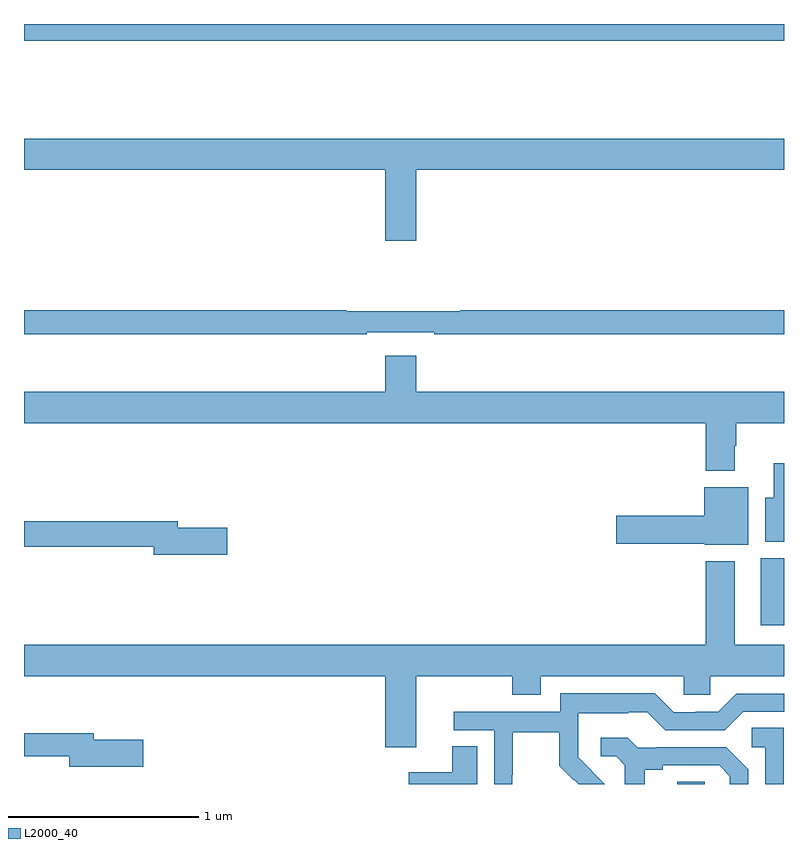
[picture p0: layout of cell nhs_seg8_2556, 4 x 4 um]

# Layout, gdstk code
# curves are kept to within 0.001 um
import gdstk
lib = gdstk.Library(unit=1e-6, precision=1e-09)
def R(c, l, rs):  # rectangles x0, y0, x1, y1
    for r in rs: c.add(gdstk.rectangle(r[:2], r[2:], *l))
def P(c, l, *ps):  # polygons
    for p in ps: c.add(gdstk.Polygon(p, *l))
L2000_40 = (2000, 40)

nhs_seg8_2556 = lib.new_cell('nhs_seg8_2556')
R(nhs_seg8_2556, L2000_40, [(274.439,1147.9,274.584,1147.913), (274.877,1148.736,275,1149.088), (271,1151.812,275,1151.9)])
P(nhs_seg8_2556, L2000_40, [(273.064,1151.132),(275,1151.132),(275,1151.296),(271,1151.296),(271,1151.132),(272.9,1151.132),(272.9,1150.758),(273.064,1150.758)],
  [(272.804,1150.278),(273.16,1150.278),(273.16,1150.266),(275,1150.266),(275,1150.394),(273.299,1150.394),(273.299,1150.387),(272.699,1150.387),(272.699,1150.394),(271,1150.394),(271,1150.266),(272.804,1150.266)],
  [(274.741,1149.68),(274.749,1149.68),(274.749,1149.8),(275,1149.8),(275,1149.964),(273.064,1149.964),(273.064,1150.153),(272.9,1150.153),(272.9,1149.964),(271,1149.964),(271,1149.8),(274.589,1149.8),(274.589,1149.548),(274.741,1149.548)],
  [(275,1149.589),(274.946,1149.589),(274.946,1149.406),(274.901,1149.406),(274.901,1149.176),(275,1149.176)],
  [(274.813,1149.463),(274.58,1149.463),(274.58,1149.311),(274.116,1149.311),(274.116,1149.164),(274.584,1149.164),(274.584,1149.158),(274.813,1149.158)],
  [(272.071,1149.248),(271.81,1149.248),(271.81,1149.284),(271,1149.284),(271,1149.148),(271.682,1149.148),(271.682,1149.106),(272.071,1149.106)],
  [(273.064,1148.468),(273.569,1148.468),(273.569,1148.369),(273.721,1148.369),(273.721,1148.468),(274.473,1148.468),(274.473,1148.37),(274.611,1148.37),(274.611,1148.468),(275,1148.468),(275,1148.632),(274.741,1148.632),(274.741,1149.073),(274.589,1149.073),(274.589,1148.632),(271,1148.632),(271,1148.468),(272.9,1148.468),(272.9,1148.094),(273.064,1148.094)],
  [(273.57,1147.948),(273.573,1147.948),(273.573,1148.172),(273.817,1148.172),(273.817,1147.997),(273.894,1147.92),(273.897,1147.923),(273.92,1147.9),(274.056,1147.9),(273.916,1148.042),(273.916,1148.139),(273.918,1148.139),(273.918,1148.273),(274.181,1148.273),(274.181,1148.277),(274.281,1148.277),(274.374,1148.184),(274.689,1148.184),(274.785,1148.28),(275,1148.28),(275,1148.376),(274.749,1148.376),(274.653,1148.28),(274.535,1148.28),(274.535,1148.277),(274.419,1148.277),(274.319,1148.377),(273.822,1148.377),(273.822,1148.28),(273.261,1148.28),(273.261,1148.184),(273.474,1148.184),(273.474,1147.9),(273.57,1147.9)],
  [(274.998,1148.195),(274.83,1148.195),(274.83,1148.094),(274.902,1148.094),(274.902,1147.9),(274.998,1147.9)],
  [(271.627,1148.133),(271.366,1148.133),(271.366,1148.167),(271,1148.167),(271,1148.046),(271.238,1148.046),(271.238,1147.991),(271.627,1147.991)],
  [(274.267,1147.976),(274.363,1147.976),(274.363,1147.998),(274.658,1147.998),(274.715,1147.941),(274.715,1147.9),(274.812,1147.9),(274.812,1147.978),(274.696,1148.094),(274.324,1148.094),(274.324,1148.091),(274.23,1148.091),(274.178,1148.143),(274.035,1148.143),(274.035,1148.046),(274.116,1148.046),(274.163,1147.999),(274.163,1147.9),(274.267,1147.9)],
  [(273.385,1148.099),(273.254,1148.099),(273.254,1147.963),(273.024,1147.963),(273.024,1147.9),(273.385,1147.9)])

lib.write_gds('nhs_seg8_2556.gds')
